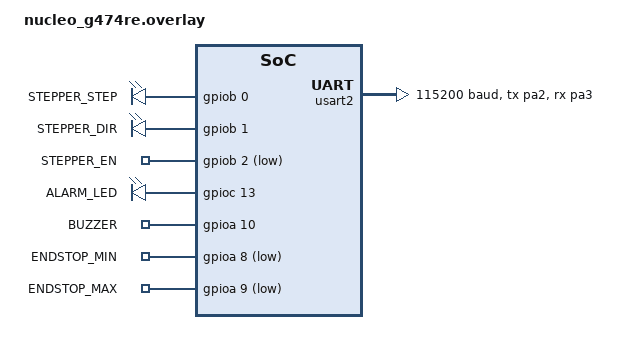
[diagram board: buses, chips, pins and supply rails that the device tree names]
/*
 * nucleo_g474re.overlay
 * Device tree overlay — maps stepper GPIO, PWM, and UART pins.
 * Adjust pin numbers to match your physical wiring.
 *
 * NUCLEO-G474RE default UART console: USART2 on PA2/PA3 (ST-LINK VCP).
 *
 * Stepper wiring (TMC2209 SilentStepStick):
 * PB0 → STEP
 * PB1 → DIR
 * PB2 → EN  (active-low)
 *
 * LED (alarm indicator):
 * PC13 → onboard LD2 (active-high on NUCLEO)
 *
 * Endstop limit switches:
 * PA8  → ENDSTOP_MIN
 * PA9  → ENDSTOP_MAX
 */

/ {
    stepper_gpios {
        compatible = "gpio-leds";

        step_pin: step_pin {
            gpios = <&gpiob 0 GPIO_ACTIVE_HIGH>;
            label = "STEPPER_STEP";
        };
        dir_pin: dir_pin {
            gpios = <&gpiob 1 GPIO_ACTIVE_HIGH>;
            label = "STEPPER_DIR";
        };
        en_pin: en_pin {
            gpios = <&gpiob 2 GPIO_ACTIVE_LOW>;
            label = "STEPPER_EN";
        };
    };

    alarm_leds {
        compatible = "gpio-leds";
        alarm_led: alarm_led {
            gpios = <&gpioc 13 GPIO_ACTIVE_HIGH>;
            label = "ALARM_LED";
        };
    };

    /* Moved the buzzer node inside the root block under a proper compatible driver */
    buzzer {
        compatible = "gpio-leds";
        buzzer_pin: buzzer_pin {
            gpios = <&gpioa 10 GPIO_ACTIVE_HIGH>;
            label = "BUZZER";
        };
    };

    endstops {
        compatible = "gpio-keys";
        endstop_min: endstop_min {
            gpios = <&gpioa 8 (GPIO_ACTIVE_LOW | GPIO_PULL_UP)>;
            label = "ENDSTOP_MIN";
        };
        endstop_max: endstop_max {
            gpios = <&gpioa 9 (GPIO_ACTIVE_LOW | GPIO_PULL_UP)>;
            label = "ENDSTOP_MAX";
        };
    };
};

&usart2 {
    current-speed = <115200>;
    pinctrl-0 = <&usart2_tx_pa2 &usart2_rx_pa3>;
    pinctrl-names = "default";
    status = "okay";
};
